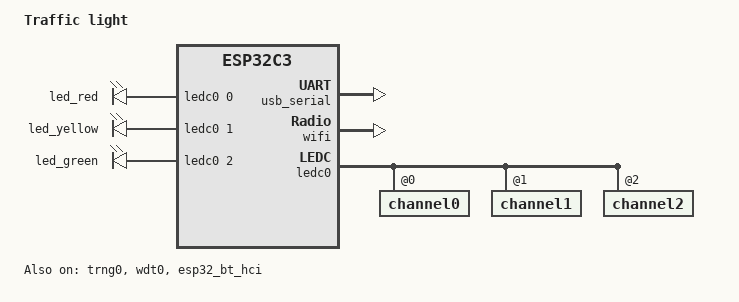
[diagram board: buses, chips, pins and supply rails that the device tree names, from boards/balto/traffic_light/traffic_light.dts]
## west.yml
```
manifest:
  remotes:
    - name: zephyrproject-rtos
      url-base: https://github.com/zephyrproject-rtos

  projects:
    - name: zephyr
      remote: zephyrproject-rtos
      revision: main
      import:
        name-allowlist:
          - hal_espressif
          - hostap
          - mbedtls
          - tf-psa-crypto
```

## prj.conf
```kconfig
CONFIG_GPIO=y
CONFIG_LOG=y
CONFIG_LOG_PROCESS_THREAD_SLEEP_MS=100
CONFIG_COMPILER_TRACK_MACRO_EXPANSION=n
CONFIG_REQUIRES_FULL_LIBC=y
CONFIG_ENTROPY_GENERATOR=y

CONFIG_THREAD_NAME=y

CONFIG_SHELL=y
CONFIG_LED=y
CONFIG_NVS=y
CONFIG_FLASH=y
CONFIG_SETTINGS=y
CONFIG_REBOOT=y
CONFIG_HWINFO=y

CONFIG_LED_SHELL=y
CONFIG_SETTINGS_SHELL=y
CONFIG_NET_L2_WIFI_SHELL=y

CONFIG_NETWORKING=y
CONFIG_WIFI=y

CONFIG_NET_L2_ETHERNET=y
CONFIG_NET_IPV6=y
CONFIG_NET_IPV4=y
CONFIG_NET_DHCPV4=y

CONFIG_NET_HOSTNAME="traffic-light"
CONFIG_NET_HOSTNAME_ENABLE=y
CONFIG_NET_LOG=y
CONFIG_NET_SHELL=y
CONFIG_NET_SOCKETS=y
CONFIG_ZVFS_POLL_MAX=4
CONFIG_NET_UDP=y
CONFIG_POSIX_API=y

CONFIG_HTTP_CLIENT=y
CONFIG_NET_TCP=y
CONFIG_DNS_RESOLVER=y

CONFIG_NET_SOCKETS_SOCKOPT_TLS=y

CONFIG_MBEDTLS=y
CONFIG_MBEDTLS_BUILTIN=y
CONFIG_MBEDTLS_ENABLE_HEAP=y
CONFIG_MBEDTLS_HEAP_SIZE=60000
CONFIG_MBEDTLS_SSL_IN_CONTENT_LEN=7168
CONFIG_MBEDTLS_SSL_OUT_CONTENT_LEN=7168
CONFIG_MBEDTLS_CIPHERSUITE_TLS_ECDHE_RSA_WITH_AES_128_CBC_SHA256=y

#CONFIG_MBEDTLS_DEBUG=y
#CONFIG_MBEDTLS_LOG_LEVEL_DBG=y

CONFIG_JSON_LIBRARY=y

CONFIG_MAIN_STACK_SIZE=4096

CONFIG_SYS_HEAP_RUNTIME_STATS=y
CONFIG_ESP32_WIFI_ENABLE_WPA3_SAE=y
```

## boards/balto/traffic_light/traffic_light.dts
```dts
/dts-v1/;

#include <espressif/esp32c3/esp32c3.dtsi>
#include "traffic_light-pinctrl.dtsi"
#include <zephyr/dt-bindings/input/input-event-codes.h>
#include <espressif/partitions_0x0_default.dtsi>
#include <zephyr/dt-bindings/pwm/pwm.h>

/ {
	model = "Traffic light";
	compatible = "balto,traffic-light";

	chosen {
		zephyr,sram = &sram1;
		zephyr,console = &usb_serial;
		zephyr,shell-uart = &usb_serial;
		zephyr,flash = &flash0;
		zephyr,code-partition = &slot0_partition;
		zephyr,bt-hci = &esp32_bt_hci;
	};

	pwmleds {
		compatible = "pwm-leds";

		led_red: led_red {
			pwms = <&ledc0 0 PWM_HZ(250) PWM_POLARITY_NORMAL>;
		};
		led_yellow: led_yellow {
			pwms = <&ledc0 1 PWM_HZ(250) PWM_POLARITY_NORMAL>;
		};
		led_green: led_green {
			pwms = <&ledc0 2 PWM_HZ(250) PWM_POLARITY_NORMAL>;
		};
	};
};

&flash0 {
	reg = <0x0 DT_SIZE_M(4)>;
	ranges = <0x0 0x0 DT_SIZE_M(4)>;
};

&usb_serial {
	status = "okay";
};

&trng0 {
	status = "okay";
};

&gpio0 {
	status = "okay";
};

&wdt0 {
	status = "okay";
};

&wifi {
	status = "okay";
};

&esp32_bt_hci {
	status = "okay";
};

&ledc0 {
	pinctrl-0 = <&ledc0_default>;
	pinctrl-names = "default";
	status = "okay";

	#address-cells = <1>;
	#size-cells = <0>;

	channel0@0 {
		reg = <0x0>;
		timer = <0>;
	};
	channel1@1 {
		reg = <0x1>;
		timer = <1>;
	};
	channel2@2 {
		reg = <0x2>;
		timer = <2>;
	};
};
```

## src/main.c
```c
#include <zephyr/drivers/hwinfo.h>
#include <zephyr/kernel.h>
#include <zephyr/logging/log.h>
#include <zephyr/net/net_if.h>

#include "data_fetcher.h"
#include "data_parser.h"
#include "leds.h"

LOG_MODULE_REGISTER(main, LOG_LEVEL_INF);

static uint8_t data_buf[2048];
static int data_len;

void update_hostname(void)
{
	char hostname[32];
	uint8_t dev_id[16];
	ssize_t length;

	length = hwinfo_get_device_id(dev_id, sizeof(dev_id));

	if (length != 6) {
		LOG_ERR("unexpected hwinfo length: %d", length);
		return;
	}

	snprintf(hostname, sizeof(hostname), "%s-%02x%02x%02x",
		 CONFIG_NET_HOSTNAME,
		 dev_id[3], dev_id[4], dev_id[5]);

	LOG_INF("hostname=%s", hostname);

	net_hostname_set(hostname, strlen(hostname));
}

int main(void)
{
	int ret;

	LOG_INF("started");

	update_hostname();

#if CONFIG_NET_DHCPV4
	struct net_if *iface = net_if_get_first_wifi();

	net_dhcpv4_start(iface);
#endif

	led_event(EV_BOOT);

	k_sleep(K_SECONDS(12));

	while (true) {
		memset(data_buf, 0xaa, sizeof(data_buf));

		LOG_INF("fetch data_buf=%p", (void *)data_buf);

		ret = fetch_data(data_buf, sizeof(data_buf), &data_len);
		if (ret < 0) {
			LOG_ERR("fetch_data failed: %d", ret);
			goto out;
		}

		LOG_INF("data_len=%d", data_len);

		ret = ci_json_process(data_buf, data_len);
		if (ret < 0) {
			LOG_ERR("ci_json_process failed: %d", ret);
			goto out;
		}
out:
		k_sleep(K_SECONDS(60));
	}

	k_sleep(K_FOREVER);
}
```

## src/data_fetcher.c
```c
#include <zephyr/logging/log.h>
#include <zephyr/net/http/client.h>
#include <zephyr/net/socket.h>
#include <zephyr/posix/netdb.h>
#include <zephyr/posix/sys/socket.h>
#include <zephyr/posix/unistd.h>

LOG_MODULE_REGISTER(data_fetcher, LOG_LEVEL_INF);

#define HTTP_HOST "merge-list.zephyrproject.io"
#define HTTP_PORT "443"
#define HTTP_PATH "/ci.json"

static uint8_t recv_buf[256];
static uint8_t *recv_data;
static int recv_data_size;
static int recv_data_len;

static int response_cb(struct http_response *rsp,
		       enum http_final_call final_data,
		       void *user_data)
{
	LOG_INF("response: final_data=%d data_len=%d status=%s",
		final_data,
		rsp->data_len,
		rsp->http_status);

	if (recv_data_len + rsp->data_len < recv_data_size - 1) {
		memcpy(&recv_data[recv_data_len], recv_buf, rsp->data_len);
		recv_data_len += rsp->data_len;
	}

	recv_data[recv_data_len] = '\0';

	return 0;
}

int fetch_data(uint8_t *data, int data_size, int *data_len)
{
	struct addrinfo hints;
	struct addrinfo *res;
	int sock;
	int ret;

	recv_data = data;
	recv_data_size = data_size;
	recv_data_len = 0;

	memset(&hints, 0, sizeof(hints));
	hints.ai_family = AF_INET;
	hints.ai_socktype = SOCK_STREAM;

	ret = getaddrinfo(HTTP_HOST, HTTP_PORT, &hints, &res);
	if (ret != 0) {
		LOG_ERR("unable to resolve address, quitting");
		return ret;
	}

	struct sockaddr_in *in = (struct sockaddr_in *)res->ai_addr;
	LOG_INF("getaddrinfo %s: %d.%d.%d.%d", HTTP_HOST,
		in->sin_addr.s4_addr[0],
		in->sin_addr.s4_addr[1],
		in->sin_addr.s4_addr[2],
		in->sin_addr.s4_addr[3]);

	sock = socket(res->ai_family, res->ai_socktype, IPPROTO_TLS_1_2);
	if (sock < 0) {
		LOG_ERR("socket error: %d", sock);
		return sock;
	}

	int verify = TLS_PEER_VERIFY_NONE;
	ret = setsockopt(sock, SOL_TLS, TLS_PEER_VERIFY, &verify, sizeof(verify));
	if (ret < 0) {
		LOG_ERR("TLS_PEER_VERIFY failed: %d", ret);
		goto close_and_return;
	}

	LOG_INF("connecting");

	ret = connect(sock, res->ai_addr, res->ai_addrlen);
	if (ret < 0) {
		LOG_ERR("connect failed: %d", ret);
		goto close_and_return;
	}

	LOG_INF("connected");

	struct http_request req;
	memset(&req, 0, sizeof(req));

	req.method = HTTP_GET;
	req.url = HTTP_PATH;
	req.host = HTTP_HOST;
	req.protocol = "HTTP/1.1";
	req.response = response_cb;
	req.recv_buf = recv_buf;
	req.recv_buf_len = sizeof(recv_buf);

	int32_t timeout = 5 * MSEC_PER_SEC;
	ret = http_client_req(sock, &req, timeout, NULL);
	if (ret < 0) {
		LOG_ERR("http_client_req failed: %d", ret);
		goto close_and_return;
	}

	*data_len = recv_data_len;

close_and_return:
	LOG_INF("close");

	close(sock);
	freeaddrinfo(res);

	return ret;
}
```

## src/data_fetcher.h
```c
int fetch_data(uint8_t *data, int data_size, int *data_len);
```
